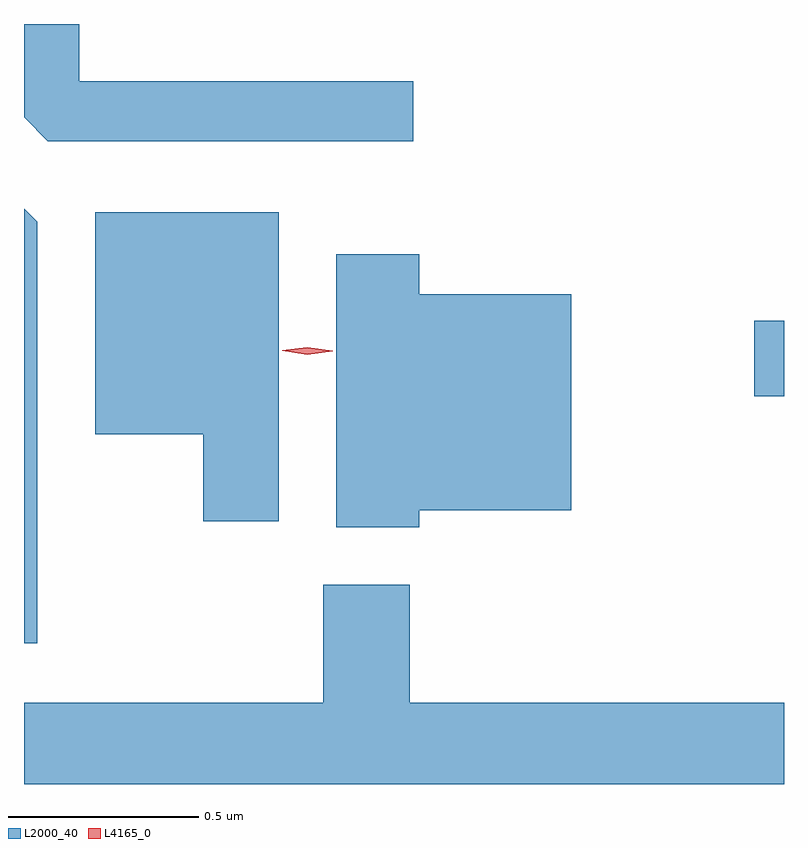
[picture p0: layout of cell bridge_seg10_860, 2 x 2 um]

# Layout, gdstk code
import gdstk
lib = gdstk.Library(unit=1e-6, precision=1e-09)
def R(c, l, rs):  # rectangles x0, y0, x1, y1
    for r in rs: c.add(gdstk.rectangle(r[:2], r[2:], *l))
def P(c, l, *ps):  # polygons
    for p in ps: c.add(gdstk.Polygon(p, *l))
L2000_40 = (2000, 40)
L4165_0 = (4165, 0)

bridge_seg10_860 = lib.new_cell('bridge_seg10_860')
R(bridge_seg10_860, L2000_40, [(267.436,2128.311,267.514,2128.509)])
P(bridge_seg10_860, L2000_40, [(266.538,2129.139),(265.659,2129.139),(265.659,2129.29),(265.514,2129.29),(265.514,2129.044),(265.577,2128.981),(266.538,2128.981)],
  [(265.549,2128.769),(265.514,2128.804),(265.514,2127.661),(265.549,2127.661)],
  [(266.184,2128.794),(265.701,2128.794),(265.701,2128.211),(265.986,2128.211),(265.986,2127.981),(266.184,2127.981)],
  [(266.554,2128.011),(266.954,2128.011),(266.954,2128.579),(266.554,2128.579),(266.554,2128.684),(266.336,2128.684),(266.336,2127.966),(266.554,2127.966)],
  [(267.514,2127.504),(266.529,2127.504),(266.529,2127.814),(266.301,2127.814),(266.301,2127.504),(265.514,2127.504),(265.514,2127.29),(267.514,2127.29)])
P(bridge_seg10_860, L4165_0, [(266.26,2128.42),(266.194,2128.43),(266.194,2128.431),(266.194,2128.431),(266.26,2128.44),(266.326,2128.43),(266.327,2128.429),(266.326,2128.429)])

lib.write_gds('bridge_seg10_860.gds')
